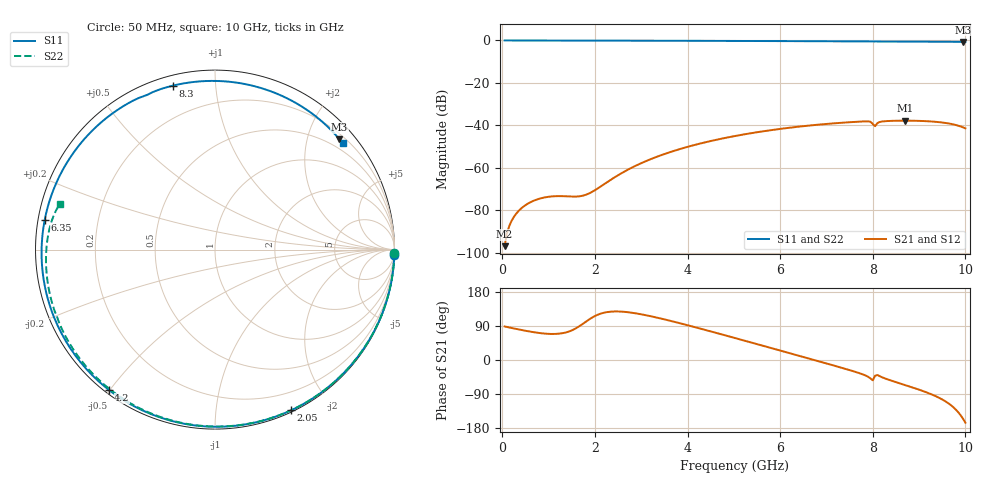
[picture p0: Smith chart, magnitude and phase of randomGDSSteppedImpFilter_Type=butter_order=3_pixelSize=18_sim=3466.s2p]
! freq	dB(S11)	phase(S11)	dB(S12)	phase(S12)
!  dB(S21)	phase(S21)	dB(S22)	phase(S22)
!S-par simulation data
#  GHz  S  DB  R 50
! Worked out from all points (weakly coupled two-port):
!   200 points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, 50 MHz to 10 GHz, reference 50 ohm
!   highest |S21| = -37.80 dB at 8.7 GHz (marker M1); lowest = -96.9 dB at 50 MHz (marker M2)
!   lowest |S11| = -0.7 dB at 9.95 GHz (marker M3), VSWR 26.24, Z = 15 + j130 ohm
!   |S11| at or under -10 dB: nowhere
!   |S22| runs from -0.9 to 0.0 dB; largest |S21 - S12| = 0
!   S11 on the Smith chart (normalised r, x): 50 MHz: 1, -70; 2.05 GHz: 0.02, -1.58; 4.2 GHz: 0.01, -0.50; 6.35 GHz: 0.02, +0.09; 8.3 GHz: 0.05, +0.77; 10 GHz: 0.33, +2.73
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0.05  -0.00 -1.6  -96.94 88.5  -96.94 88.5  -0.00 -1.2
0.35  -0.01 -11.3  -80.39 80.7  -80.39 80.7  -0.01 -8.0
0.65  -0.02 -21.0  -75.80 73.9  -75.80 73.9  -0.02 -14.8
0.95  -0.04 -30.5  -73.83 69.3  -73.83 69.3  -0.03 -21.5
1.75  -0.07 -55.5  -73.08 96.4  -73.08 96.4  -0.05 -39.1
2.05  -0.08 -64.7  -69.89 118.9  -69.89 118.9  -0.06 -45.6
2.7  -0.11 -84.1  -61.03 126.3  -61.03 126.3  -0.08 -59.3
3.4  -0.14 -104.4  -54.30 110.2  -54.30 110.2  -0.10 -73.5
4.2  -0.17 -127.2  -48.98 85.4  -48.98 85.4  -0.12 -89.1
5.05  -0.23 -151.3  -44.93 57.1  -44.93 57.1  -0.16 -104.9
5.7  -0.27 -170.2  -42.59 35.2  -42.59 35.2  -0.19 -116.6
6.35  -0.33 170.2  -40.75 13.1  -40.75 13.1  -0.23 -128.0
6.7  -0.36 159.3  -39.94 1.2  -39.94 1.2  -0.26 -134.0
7.9  -0.47 118.8  -38.14 -44.3  -38.14 -44.3  -0.36 -154.8
8.05  -0.53 113.6  -40.40 -41.5  -40.40 -41.5  -0.38 -157.3
8.15  -0.50 110.0  -38.42 -42.7  -38.42 -42.7  -0.38 -159.1
8.3  -0.51 104.4  -38.00 -50.3  -38.00 -50.3  -0.40 -161.8
8.35  -0.51 102.6  -37.94 -52.4  -37.94 -52.4  -0.40 -162.7
8.7  -0.54 89.5  -37.80 -66.1  -37.80 -66.1  -0.45 -169.0
9.3  -0.59 66.5  -38.24 -92.3  -38.24 -92.3  -0.54 179.5
9.95  -0.66 41.6  -40.96 -155.2  -40.96 -155.2  -0.85 164.8
10  -0.66 39.7  -41.44 -165.4  -41.44 -165.4  -0.90 163.4
